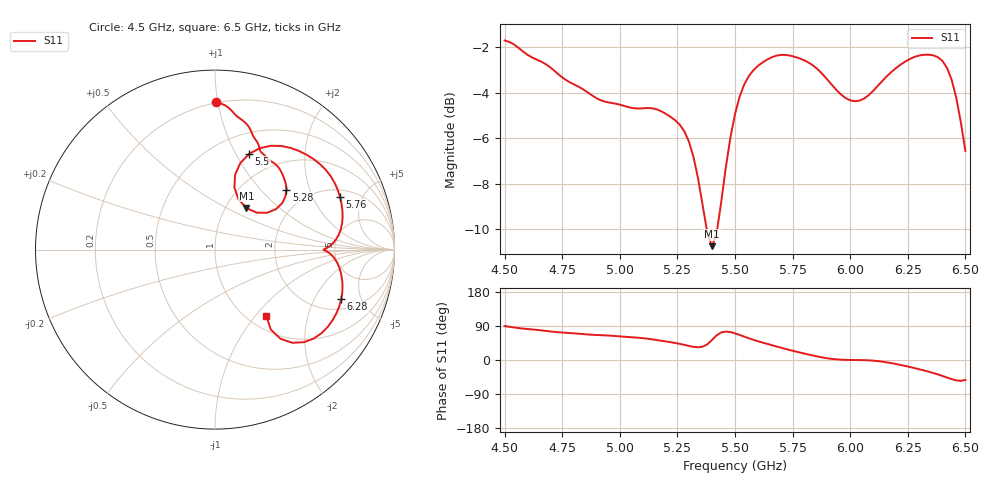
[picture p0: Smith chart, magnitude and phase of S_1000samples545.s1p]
! TOUCHSTONE file generated by CST MICROWAVE STUDIO
! Date and time: Fri Oct 28 13:11:09 2022
! Project name: L.cst
! Parameters = {Di=1.27; Epsilon_r=1.56; InnerDiameter=1.27; Length=2; Lf=10; Lg=60; OuterConductorThickness=0.2921; OuterDiameter=3.6; Wf=3; Wp=41.2; de=1.5; df=6.8; g=0.8; gx=0.547117; gy=4.89003; h=2.34; hf=1.524; px=11.331; py=13.5756; w=9.7; wx=10.7839; wy=8.68556}
! Header version: 2018
! Port assignment regex: !\s*Touchstone port\s*([0-9]+)\s*=\s*(CST MWS port|CST DS port)\s*([0-9]+|Zmin|Zmax)\s*\(\"(.*)\"\)(\s*mode\s*([0-9]+))?.*
! Touchstone port assignment:
! Touchstone port 1 = CST MWS port 1 ("")
# GHz S DB R 50
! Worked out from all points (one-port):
!   101 points, 4.5 GHz to 6.5 GHz, reference 50 ohm
!   lowest |S11| = -10.7 dB at 5.4 GHz (marker M1), VSWR 1.82, Z = 62.4 + j31.5 ohm
!   |S11| at or under -10 dB: 5.377 GHz to 5.423 GHz (45.42 MHz wide, 0.841 % of centre)
!   S11 on the Smith chart (normalised r, x): 4.5 GHz: 0.20, +0.99; 5.28 GHz: 1.54, +1.41; 5.5 GHz: 0.72, +1.13; 5.76 GHz: 2.40, +3.29; 6.28 GHz: 2.61, -3.36; 6.5 GHz: 1.20, -1.15
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4.5  -1.71 89.5
4.58  -2.20 82.9
4.76  -3.41 72.1
5  -4.53 62.3
5.14  -4.69 54.6
5.26  -5.41 42.6
5.28  -5.70 39.9
5.32  -6.83 34.7
5.36  -8.97 35.2
5.4  -10.74 52.8
5.42  -10.19 65.0
5.44  -8.82 72.7
5.46  -7.30 75.0
5.5  -4.94 70.4
5.54  -3.65 61.7
5.6  -2.83 49.5
5.68  -2.38 35.7
5.76  -2.43 22.9
5.84  -2.82 11.6
5.9  -3.42 4.6
6  -4.34 0.1
6.12  -3.70 -2.9
6.26  -2.52 -18.6
6.28  -2.43 -21.5
6.36  -2.36 -34.2
6.42  -2.91 -46.2
6.46  -4.21 -53.7
6.5  -6.56 -52.4
